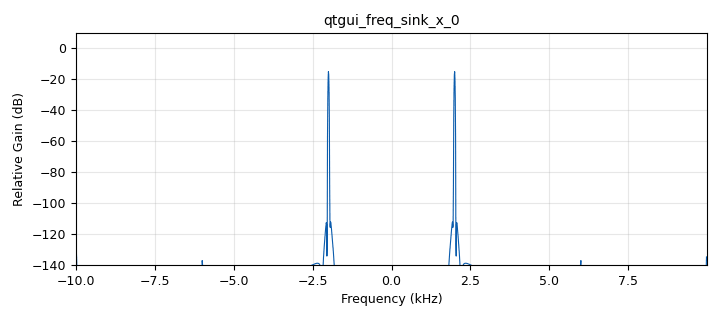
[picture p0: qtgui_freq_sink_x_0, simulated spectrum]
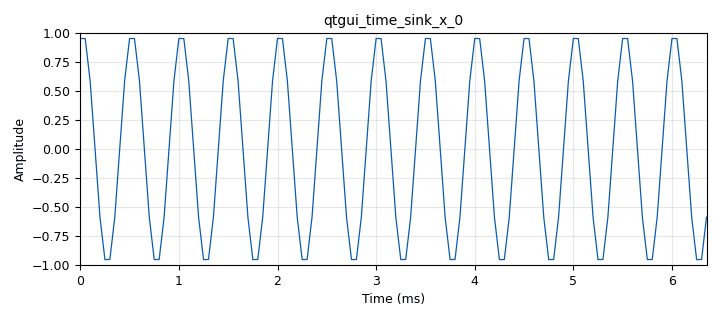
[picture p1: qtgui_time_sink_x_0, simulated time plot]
options:
  parameters:
    author: Grupo03
    copyright: Grupo03
    description: Sample Rate demo
    generate_options: qt_gui
    id: Laboratorio01
    output_language: python
    title: Sample Rate demo
  states: {}

blocks:
- name: freq
  id: variable_qtgui_range
  parameters:
    label: Frequency
    start: '1000'
    step: '1000'
    stop: '40000'
    value: '2000'
  states: {}
- name: samp_rate
  id: variable
  parameters:
    value: '32000'
  states: {state: disabled}
- name: samp_rate
  id: variable_qtgui_range
  parameters:
    start: '10000'
    step: '1000'
    stop: '400000'
    value: '20000'
  states: {}
- name: analog_sig_source_x_0
  id: analog_sig_source_x
  parameters:
    amp: '1'
    freq: freq
    offset: '0'
    phase: '0'
    samp_rate: samp_rate
    type: float
    waveform: analog.GR_SIN_WAVE
  states: {}
- name: blocks_throttle_0
  id: blocks_throttle
  parameters:
    samples_per_second: samp_rate
    type: float
  states: {}
- name: qtgui_freq_sink_x_0
  id: qtgui_freq_sink_x
  parameters:
    bw: samp_rate
    fc: '0'
    fftsize: '2048'
    type: float
  states: {}
- name: qtgui_time_sink_x_0
  id: qtgui_time_sink_x
  parameters:
    size: '128'
    srate: samp_rate
    type: float
  states: {}

connections:
- [analog_sig_source_x_0, '0', blocks_throttle_0, '0']
- [blocks_throttle_0, '0', qtgui_freq_sink_x_0, '0']
- [blocks_throttle_0, '0', qtgui_time_sink_x_0, '0']

metadata:
  file_format: 1
